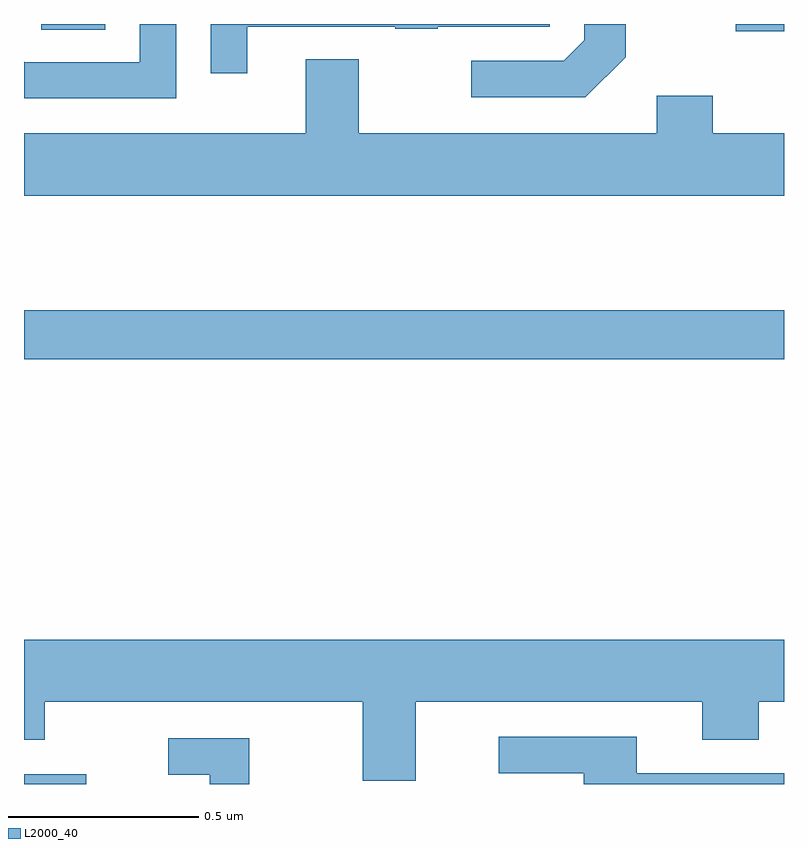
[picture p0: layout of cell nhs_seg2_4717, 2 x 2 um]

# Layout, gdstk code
import gdstk
lib = gdstk.Library(unit=1e-6, precision=1e-09)
def R(c, l, rs):  # rectangles x0, y0, x1, y1
    for r in rs: c.add(gdstk.rectangle(r[:2], r[2:], *l))
def P(c, l, *ps):  # polygons
    for p in ps: c.add(gdstk.Polygon(p, *l))
L2000_40 = (2000, 40)

nhs_seg2_4717 = lib.new_cell('nhs_seg2_4717')
R(nhs_seg2_4717, L2000_40, [(170,600.8,170.164,600.826), (170,601.918,172,602.047), (171.873,602.781,172,602.8), (170.046,602.785,170.214,602.8)])
P(nhs_seg2_4717, L2000_40, [(170.4,602.8),(170.304,602.8),(170.304,602.7),(170.001,602.7),(170,602.701),(170,602.604),(170.4,602.604)],
  [(170.587,602.793),(170.977,602.793),(170.977,602.788),(171.089,602.788),(171.089,602.793),(171.384,602.793),(171.384,602.8),(170.491,602.8),(170.491,602.67),(170.587,602.67)],
  [(171.583,602.713),(171.583,602.8),(171.474,602.8),(171.474,602.757),(171.42,602.703),(171.177,602.703),(171.177,602.607),(171.477,602.607)],
  [(172,602.512),(171.813,602.512),(171.813,602.611),(171.665,602.611),(171.665,602.512),(170.881,602.512),(170.881,602.707),(170.741,602.707),(170.741,602.512),(170,602.512),(170,602.348),(172,602.348)],
  [(171.031,601.016),(171.785,601.016),(171.785,600.917),(171.933,600.917),(171.933,601.016),(172,601.016),(172,601.18),(170,601.18),(170,600.917),(170.055,600.917),(170.055,601.016),(170.891,601.016),(170.891,600.808),(171.031,600.808)],
  [(172,600.828),(171.613,600.828),(171.613,600.924),(171.249,600.924),(171.249,600.828),(171.473,600.828),(171.473,600.8),(172,600.8)],
  [(170.593,600.921),(170.379,600.921),(170.379,600.825),(170.489,600.825),(170.489,600.8),(170.593,600.8)])

lib.write_gds('nhs_seg2_4717.gds')
